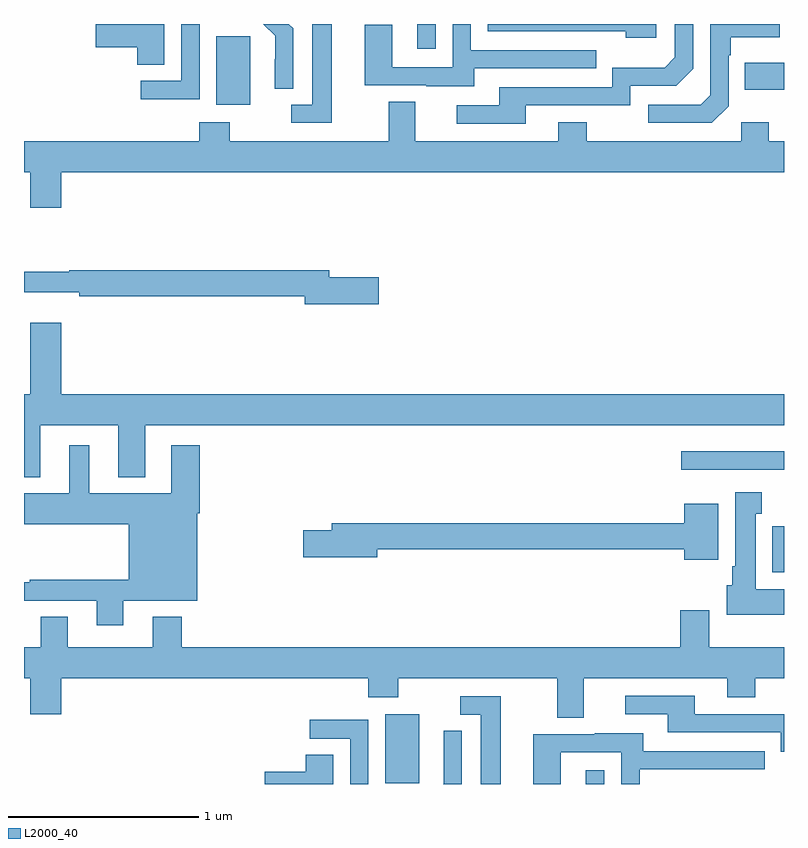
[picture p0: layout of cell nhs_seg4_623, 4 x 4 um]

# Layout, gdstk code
import gdstk
lib = gdstk.Library(unit=1e-6, precision=1e-09)
def R(c, l, rs):  # rectangles x0, y0, x1, y1
    for r in rs: c.add(gdstk.rectangle(r[:2], r[2:], *l))
def P(c, l, *ps):  # polygons
    for p in ps: c.add(gdstk.Polygon(p, *l))
L2000_40 = (2000, 40)

nhs_seg4_623 = lib.new_cell('nhs_seg4_623')
R(nhs_seg4_623, L2000_40, [(143.957,826.9,144.054,826.972), (142.901,826.905,143.08,827.266), (144.938,828.014,145,828.256), (144.459,828.555,145,828.652), (142.013,830.474,142.192,830.835), (144.793,830.555,145,830.695), (143.069,830.769,143.166,830.9)])
P(nhs_seg4_623, L2000_40, [(143.641,830.472),(144.192,830.472),(144.192,830.574),(144.432,830.574),(144.522,830.664),(144.522,830.9),(144.426,830.9),(144.426,830.724),(144.373,830.671),(144.096,830.671),(144.096,830.568),(143.501,830.568),(143.501,830.472),(143.277,830.472),(143.277,830.376),(143.641,830.376)],
  [(141.924,830.9),(141.828,830.9),(141.828,830.601),(141.615,830.601),(141.615,830.503),(141.924,830.503)],
  [(142.416,830.878),(142.394,830.9),(142.258,830.9),(142.322,830.837),(142.322,830.714),(142.32,830.714),(142.32,830.56),(142.416,830.56)],
  [(144.328,830.9),(143.442,830.9),(143.442,830.862),(144.167,830.862),(144.167,830.828),(144.328,830.828)],
  [(144.708,830.466),(144.708,830.735),(144.721,830.735),(144.721,830.831),(144.977,830.831),(144.977,830.9),(144.612,830.9),(144.612,830.526),(144.561,830.475),(144.285,830.475),(144.285,830.379),(144.621,830.379)],
  [(142.621,830.9),(142.517,830.9),(142.517,830.475),(142.407,830.475),(142.407,830.379),(142.621,830.379)],
  [(143.371,830.667),(144.011,830.667),(144.011,830.763),(143.352,830.763),(143.352,830.9),(143.256,830.9),(143.256,830.673),(142.938,830.673),(142.938,830.897),(142.793,830.897),(142.793,830.577),(143.117,830.577),(143.117,830.573),(143.371,830.573)],
  [(141.739,830.9),(141.378,830.9),(141.378,830.777),(141.596,830.777),(141.596,830.686),(141.739,830.686)],
  [(141.196,830.12),(145,830.12),(145,830.284),(144.921,830.284),(144.921,830.383),(144.774,830.383),(144.774,830.284),(143.961,830.284),(143.961,830.383),(143.813,830.383),(143.813,830.284),(143.059,830.284),(143.059,830.492),(142.919,830.492),(142.919,830.284),(142.083,830.284),(142.083,830.383),(141.923,830.383),(141.923,830.284),(141,830.284),(141,830.12),(141.032,830.12),(141.032,829.932),(141.196,829.932)],
  [(142.867,829.568),(142.606,829.568),(142.606,829.604),(141.238,829.604),(141.238,829.597),(141,829.597),(141,829.487),(141.292,829.487),(141.292,829.468),(142.478,829.468),(142.478,829.426),(142.867,829.426)],
  [(141.085,828.788),(141.497,828.788),(141.497,828.515),(141.637,828.515),(141.637,828.788),(145,828.788),(145,828.952),(141.196,828.952),(141.196,829.327),(141.032,829.327),(141.032,828.952),(141,828.952),(141,828.515),(141.085,828.515)],
  [(141.523,827.864),(141.913,827.864),(141.913,828.326),(141.926,828.326),(141.926,828.682),(141.776,828.682),(141.776,828.43),(141.343,828.43),(141.343,828.682),(141.239,828.682),(141.239,828.43),(141,828.43),(141,828.266),(141.551,828.266),(141.551,827.974),(141.031,827.974),(141.031,827.961),(141,827.961),(141,827.865),(141.383,827.865),(141.383,827.736),(141.523,827.736)],
  [(145,827.926),(144.85,827.926),(144.85,828.323),(144.883,828.323),(144.883,828.436),(144.743,828.436),(144.743,828.046),(144.728,828.046),(144.728,827.946),(144.698,827.946),(144.698,827.792),(145,827.792)],
  [(144.655,828.376),(144.476,828.376),(144.476,828.272),(142.619,828.272),(142.619,828.236),(142.47,828.236),(142.47,828.094),(142.858,828.094),(142.858,828.136),(144.476,828.136),(144.476,828.08),(144.655,828.08)],
  [(143.947,827.456),(144.701,827.456),(144.701,827.357),(144.849,827.357),(144.849,827.456),(145,827.456),(145,827.62),(144.607,827.62),(144.607,827.815),(144.455,827.815),(144.455,827.62),(141.83,827.62),(141.83,827.779),(141.677,827.779),(141.677,827.62),(141.229,827.62),(141.229,827.78),(141.089,827.78),(141.089,827.62),(141,827.62),(141,827.456),(141.032,827.456),(141.032,827.268),(141.196,827.268),(141.196,827.456),(142.811,827.456),(142.811,827.357),(142.971,827.357),(142.971,827.456),(143.807,827.456),(143.807,827.248),(143.947,827.248)],
  [(145,827.268),(144.529,827.268),(144.529,827.364),(144.165,827.364),(144.165,827.268),(144.389,827.268),(144.389,827.172),(144.984,827.172),(144.984,827.069),(145,827.069)],
  [(143.509,827.361),(143.295,827.361),(143.295,827.265),(143.405,827.265),(143.405,826.9),(143.509,826.9)],
  [(142.812,827.238),(142.503,827.238),(142.503,827.139),(142.716,827.139),(142.716,826.9),(142.812,826.9)],
  [(143.304,827.18),(143.208,827.18),(143.208,827.026),(143.21,827.026),(143.21,826.904),(143.206,826.9),(143.304,826.9)],
  [(143.826,827.067),(144.144,827.067),(144.144,826.9),(144.24,826.9),(144.24,826.977),(144.899,826.977),(144.899,827.073),(144.259,827.073),(144.259,827.167),(144.005,827.167),(144.005,827.163),(143.681,827.163),(143.681,826.9),(143.826,826.9)],
  [(142.627,827.054),(142.484,827.054),(142.484,826.964),(142.266,826.964),(142.266,826.9),(142.627,826.9)])

lib.write_gds('nhs_seg4_623.gds')
